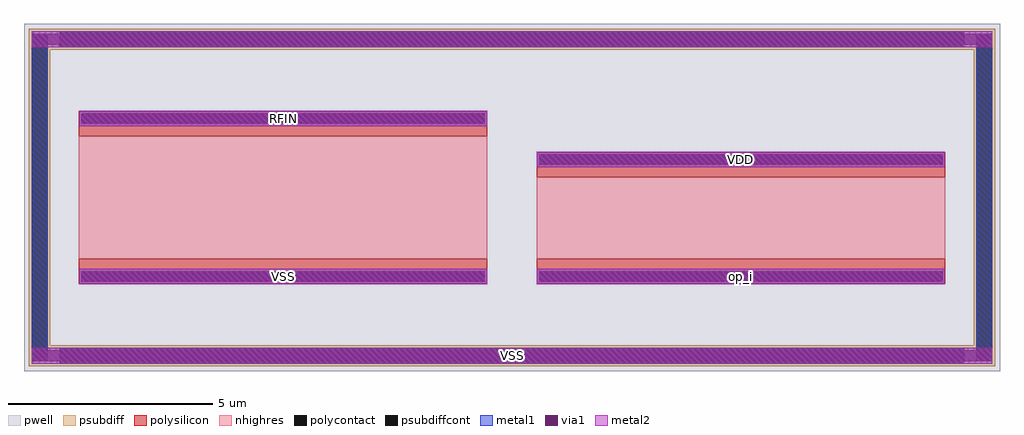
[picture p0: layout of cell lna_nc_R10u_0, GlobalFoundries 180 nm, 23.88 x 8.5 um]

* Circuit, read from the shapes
.subckt lna_nc_R10u_0 VSS RFIN op_i VDD
XR1 RFIN VSS VSS ppolyf_u_1k r_width=10u r_length=3u
XR2 VDD op_i VSS ppolyf_u_1k r_width=10u r_length=2u
.ends

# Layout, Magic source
magic
tech gf180mcuD
magscale 1 10
<< pwell >>
rect -1268 -464 3508 1236
<< psubdiff >>
rect -1244 -440 3484 -336
rect -1244 1108 3484 1212
rect -1244 -336 -1140 1108
rect 3380 -336 3484 1108
<< polysilicon >>
rect -1000 686 1000 808
rect -1000 -36 1000 86
rect 1240 486 3240 608
rect 1240 -36 3240 86
<< nhighres >>
rect -1000 86 1000 686
rect 1240 86 3240 486
<< psubdiffcont >>
rect -1231 -416 -1153 1188
rect 3393 -416 3471 1188
rect -1093 1121 3333 1199
rect -1093 -427 3333 -349
<< polycontact >>
rect -987 749 987 795
rect -987 -23 987 23
rect 1253 549 3227 595
rect 1253 -23 3227 23
<< metal1 >>
rect -998 749 998 795
rect -998 -23 998 23
rect 1242 549 3238 595
rect 1242 -23 3238 23
rect -998 -38 998 38
rect -998 734 998 810
rect 1242 -38 3238 38
rect 1242 534 3238 610
rect -1231 -427 3471 -349
rect -1231 1121 3471 1199
rect -1231 -427 -1153 1199
rect 3393 -427 3471 1199
rect -1231 -427 3471 -349
rect -1231 1121 3471 1199
<< metal2 >>
rect -998 -38 998 38
rect -998 734 998 810
rect 1242 -38 3238 38
rect 1242 534 3238 610
rect -1231 -427 3471 -349
rect -1231 1121 3471 1199
<< via1 >>
rect -986 -26 986 26
rect -986 746 986 798
rect 1254 -26 3226 26
rect 1254 546 3226 598
rect -1219 -415 3459 -361
rect -1219 1133 3459 1187
<< labels >>
flabel metal2 s -998 -38 998 38 0 FreeSans 80 0 0 0 VSS
port 1 nsew signal bidirectional
flabel metal2 s -998 734 998 810 0 FreeSans 80 0 0 0 RFIN
port 2 nsew signal bidirectional
flabel metal2 s 1242 -38 3238 38 0 FreeSans 80 0 0 0 op_i
port 3 nsew signal bidirectional
flabel metal2 s 1242 534 3238 610 0 FreeSans 80 0 0 0 VDD
port 4 nsew signal bidirectional
flabel metal2 s -1231 -427 3471 -349 0 FreeSans 80 0 0 0 VSS
port 1 nsew signal bidirectional
<< end >>
